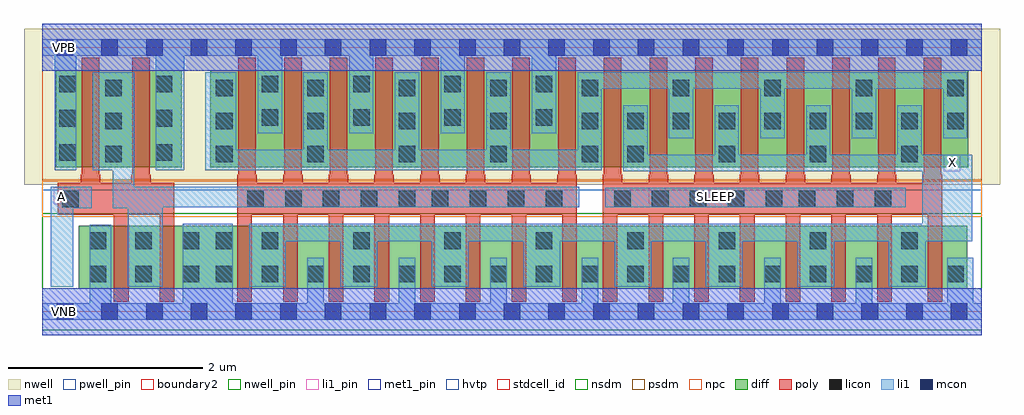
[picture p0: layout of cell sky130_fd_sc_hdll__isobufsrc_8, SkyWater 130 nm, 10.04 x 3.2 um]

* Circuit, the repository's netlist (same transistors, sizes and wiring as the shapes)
* Copyright 2020 The SkyWater PDK Authors
*
* Licensed under the Apache License, Version 2.0 (the "License");
* you may not use this file except in compliance with the License.
* You may obtain a copy of the License at
*
*     https://www.apache.org/licenses/LICENSE-2.0
*
* Unless required by applicable law or agreed to in writing, software
* distributed under the License is distributed on an "AS IS" BASIS,
* WITHOUT WARRANTIES OR CONDITIONS OF ANY KIND, either express or implied.
* See the License for the specific language governing permissions and
* limitations under the License.
*
* SPDX-License-Identifier: Apache-2.0

.SUBCKT sky130_fd_sc_hdll__isobufsrc_8 A SLEEP VGND VNB VPB VPWR X
*.PININFO A:I SLEEP:I VGND:I VNB:I VPB:I VPWR:I X:O
MMP0 VPWR Ab sndPA VPB sky130_fd_pr__pfet_01v8_hvt m=8 w=1.0U l=0.18U mult=1 sa=0.265
+ sb=0.265 sd=0.28 area=0.063 perim=1.14
MMP1 sndPA SLEEP X VPB sky130_fd_pr__pfet_01v8_hvt m=8 w=1.0U l=0.18U mult=1 sa=0.265
+ sb=0.265 sd=0.28 area=0.063 perim=1.14
MMIP1 Ab A VPWR VPB sky130_fd_pr__pfet_01v8_hvt m=2 w=1.0U l=0.18U mult=1 sa=0.265
+ sb=0.265 sd=0.28 area=0.063 perim=1.14
MMN0 X SLEEP VGND VNB sky130_fd_pr__nfet_01v8 m=8 w=0.65U l=0.15U mult=1 sa=0.265
+ sb=0.265 sd=0.28 area=0.063 perim=1.14
MMN1 X Ab VGND VNB sky130_fd_pr__nfet_01v8 m=8 w=0.65U l=0.15U mult=1 sa=0.265
+ sb=0.265 sd=0.28 area=0.063 perim=1.14
MMIN1 Ab A VGND VNB sky130_fd_pr__nfet_01v8 m=2 w=0.65U l=0.15U mult=1 sa=0.265
+ sb=0.265 sd=0.28 area=0.063 perim=1.14
.ENDS sky130_fd_sc_hdll__isobufsrc_8

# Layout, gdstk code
import gdstk
lib = gdstk.Library(unit=1e-6, precision=1e-09)
def R(c, l, rs):  # rectangles x0, y0, x1, y1
    for r in rs: c.add(gdstk.rectangle(r[:2], r[2:], *l))
def A(c, l, x, y, w, h, nx, ny, dx, dy):  # array of equal rectangles
    R(c, l, [(x+i*dx, y+j*dy, x+i*dx+w, y+j*dy+h) for i in range(nx) for j in range(ny)])
def P(c, l, *ps):  # polygons
    for p in ps: c.add(gdstk.Polygon(p, *l))
nwell_pin = (64, 16)
nwell = (64, 20)
diff = (65, 20)
poly = (66, 20)
licon = (66, 44)
li1_pin = (67, 16)
li1 = (67, 20)
mcon = (67, 44)
met1_pin = (68, 16)
met1 = (68, 20)
hvtp = (78, 44)
stdcell_id = (81, 4)
nsdm = (93, 44)
psdm = (94, 20)
npc = (95, 20)
pwell_pin = (122, 16)
boundary2 = (236, 0)

sky130_fd_sc_hdll__isobu = lib.new_cell('sky130_fd_sc_hdll__isobufsrc_8')
R(sky130_fd_sc_hdll__isobu, nwell_pin, [(0.145,2.635,0.315,2.805)])
R(sky130_fd_sc_hdll__isobu, nwell, [(-0.19,1.305,9.85,2.91)])
R(sky130_fd_sc_hdll__isobu, diff, [(0.375,0.235,9.515,0.885), (0.135,1.485,1.435,2.485), (1.725,1.485,9.525,2.485)])
P(sky130_fd_sc_hdll__isobu, poly, [(1.355,1.325),(1.115,1.325),(1.115,1.41),(1.105,1.41),(1.105,2.615),(0.925,2.615),(0.925,1.41),(0.915,1.41),(0.915,1.325),(0.595,1.325),(0.595,1.41),(0.585,1.41),(0.585,2.615),(0.405,2.615),(0.405,1.41),(0.395,1.41),(0.395,1.325),(0.155,1.325),(0.155,0.995),(0.735,0.995),(0.735,0.105),(0.885,0.105),(0.885,0.995),(1.205,0.995),(1.205,0.105),(1.355,0.105)],
  [(5.495,1.41),(5.485,1.41),(5.485,2.615),(5.305,2.615),(5.305,1.41),(5.295,1.41),(5.295,1.325),(5.025,1.325),(5.025,1.41),(5.015,1.41),(5.015,2.615),(4.835,2.615),(4.835,1.41),(4.825,1.41),(4.825,1.325),(4.555,1.325),(4.555,1.41),(4.545,1.41),(4.545,2.615),(4.365,2.615),(4.365,1.41),(4.355,1.41),(4.355,1.325),(4.085,1.325),(4.085,1.41),(4.075,1.41),(4.075,2.615),(3.895,2.615),(3.895,1.41),(3.885,1.41),(3.885,1.325),(3.615,1.325),(3.615,1.41),(3.605,1.41),(3.605,2.615),(3.425,2.615),(3.425,1.41),(3.415,1.41),(3.415,1.325),(3.145,1.325),(3.145,1.41),(3.135,1.41),(3.135,2.615),(2.955,2.615),(2.955,1.41),(2.945,1.41),(2.945,1.325),(2.675,1.325),(2.675,1.41),(2.665,1.41),(2.665,2.615),(2.485,2.615),(2.485,1.41),(2.475,1.41),(2.475,1.325),(2.205,1.325),(2.205,1.41),(2.195,1.41),(2.195,2.615),(2.015,2.615),(2.015,1.41),(2.005,1.41),(2.005,0.105),(2.155,0.105),(2.155,0.995),(2.475,0.995),(2.475,0.105),(2.625,0.105),(2.625,0.995),(2.945,0.995),(2.945,0.105),(3.095,0.105),(3.095,0.995),(3.415,0.995),(3.415,0.105),(3.565,0.105),(3.565,0.995),(3.885,0.995),(3.885,0.105),(4.035,0.105),(4.035,0.995),(4.355,0.995),(4.355,0.105),(4.505,0.105),(4.505,0.995),(4.825,0.995),(4.825,0.105),(4.975,0.105),(4.975,0.995),(5.345,0.995),(5.345,0.105),(5.495,0.105)],
  [(9.255,1.41),(9.245,1.41),(9.245,2.615),(9.065,2.615),(9.065,1.41),(9.055,1.41),(9.055,1.325),(8.785,1.325),(8.785,1.41),(8.775,1.41),(8.775,2.615),(8.595,2.615),(8.595,1.41),(8.585,1.41),(8.585,1.325),(8.315,1.325),(8.315,1.41),(8.305,1.41),(8.305,2.615),(8.125,2.615),(8.125,1.41),(8.115,1.41),(8.115,1.325),(7.845,1.325),(7.845,1.41),(7.835,1.41),(7.835,2.615),(7.655,2.615),(7.655,1.41),(7.645,1.41),(7.645,1.325),(7.375,1.325),(7.375,1.41),(7.365,1.41),(7.365,2.615),(7.185,2.615),(7.185,1.41),(7.175,1.41),(7.175,1.325),(6.905,1.325),(6.905,1.41),(6.895,1.41),(6.895,2.615),(6.715,2.615),(6.715,1.41),(6.705,1.41),(6.705,1.325),(6.435,1.325),(6.435,1.41),(6.425,1.41),(6.425,2.615),(6.245,2.615),(6.245,1.41),(6.235,1.41),(6.235,1.325),(5.965,1.325),(5.965,1.41),(5.955,1.41),(5.955,2.615),(5.775,2.615),(5.775,1.41),(5.765,1.41),(5.765,0.105),(5.915,0.105),(5.915,0.995),(6.235,0.995),(6.235,0.105),(6.385,0.105),(6.385,0.995),(6.705,0.995),(6.705,0.105),(6.855,0.105),(6.855,0.995),(7.175,0.995),(7.175,0.105),(7.325,0.105),(7.325,0.995),(7.645,0.995),(7.645,0.105),(7.795,0.105),(7.795,0.995),(8.115,0.995),(8.115,0.105),(8.265,0.105),(8.265,0.995),(8.585,0.995),(8.585,0.105),(8.735,0.105),(8.735,0.995),(9.105,0.995),(9.105,0.105),(9.255,0.105)])
A(sky130_fd_sc_hdll__isobu, licon, 1.785, 0.305, 0.17, 0.17, 17, 1, 0.47, 0)
A(sky130_fd_sc_hdll__isobu, licon, 2.255, 0.645, 0.17, 0.17, 8, 1, 0.94, 0)
A(sky130_fd_sc_hdll__isobu, licon, 2.105, 1.075, 0.17, 0.17, 5, 1, 0.39, 0)
A(sky130_fd_sc_hdll__isobu, licon, 4.005, 1.075, 0.17, 0.17, 4, 1, 0.39, 0)
A(sky130_fd_sc_hdll__isobu, licon, 5.88, 1.075, 0.17, 0.17, 5, 1, 0.39, 0)
A(sky130_fd_sc_hdll__isobu, licon, 7.78, 1.075, 0.17, 0.17, 3, 1, 0.39, 0)
A(sky130_fd_sc_hdll__isobu, licon, 0.645, 1.535, 0.17, 0.17, 1, 3, 0, 0.34)
A(sky130_fd_sc_hdll__isobu, licon, 1.785, 1.535, 0.17, 0.17, 5, 2, 0.94, 0.34)
A(sky130_fd_sc_hdll__isobu, licon, 6.015, 1.535, 0.17, 0.17, 4, 1, 0.94, 0)
A(sky130_fd_sc_hdll__isobu, licon, 0.175, 1.555, 0.17, 0.17, 1, 3, 0, 0.35)
A(sky130_fd_sc_hdll__isobu, licon, 1.165, 1.555, 0.17, 0.17, 1, 3, 0, 0.35)
A(sky130_fd_sc_hdll__isobu, licon, 6.015, 1.875, 0.17, 0.17, 8, 1, 0.47, 0)
A(sky130_fd_sc_hdll__isobu, licon, 2.255, 1.915, 0.17, 0.17, 4, 2, 0.94, 0.34)
A(sky130_fd_sc_hdll__isobu, licon, 1.785, 2.215, 0.17, 0.17, 9, 1, 0.94, 0)
R(sky130_fd_sc_hdll__isobu, licon, [(0.485,0.305,0.655,0.475), (0.955,0.305,1.125,0.475), (1.445,0.305,1.615,0.475), (0.485,0.645,0.655,0.815), (0.955,0.645,1.125,0.815), (1.445,0.645,1.615,0.815), (1.785,0.645,1.955,0.815), (0.205,1.075,0.375,1.245)])
R(sky130_fd_sc_hdll__isobu, li1_pin, [(0.115,1.105,0.285,1.275), (6.235,1.105,6.405,1.275), (9.27,1.445,9.44,1.615)])
R(sky130_fd_sc_hdll__isobu, li1, [(5.79,1.075,8.88,1.275)])
P(sky130_fd_sc_hdll__isobu, li1, [(9.66,0.085),(9.575,0.085),(9.575,0.555),(9.305,0.555),(9.305,0.085),(8.535,0.085),(8.535,0.555),(8.365,0.555),(8.365,0.085),(7.595,0.085),(7.595,0.555),(7.425,0.555),(7.425,0.085),(6.655,0.085),(6.655,0.555),(6.485,0.555),(6.485,0.085),(5.715,0.085),(5.715,0.555),(5.545,0.555),(5.545,0.085),(4.775,0.085),(4.775,0.555),(4.605,0.555),(4.605,0.085),(3.835,0.085),(3.835,0.555),(3.665,0.555),(3.665,0.085),(2.895,0.085),(2.895,0.555),(2.725,0.555),(2.725,0.085),(1.955,0.085),(1.955,0.905),(1.445,0.905),(1.445,0.085),(0.705,0.085),(0.705,0.895),(0.485,0.895),(0.485,0.085),(0,0.085),(0,-0.085),(9.66,-0.085)],
  [(9.515,2.465),(5.505,2.465),(5.505,1.665),(4.815,1.665),(4.815,2.465),(4.565,2.465),(4.565,1.665),(3.875,1.665),(3.875,2.465),(3.625,2.465),(3.625,1.665),(2.935,1.665),(2.935,2.465),(2.685,2.465),(2.685,1.665),(1.995,1.665),(1.995,2.465),(1.675,2.465),(1.675,1.455),(5.755,1.455),(5.755,2.295),(6.445,2.295),(6.445,1.785),(6.695,1.785),(6.695,2.295),(7.385,2.295),(7.385,1.785),(7.635,1.785),(7.635,2.295),(8.325,2.295),(8.325,1.785),(8.575,1.785),(8.575,2.295),(9.265,2.295),(9.265,1.785),(9.515,1.785)],
  [(0.505,1.285),(0.085,1.285),(0.085,0.255),(0.315,0.255),(0.315,1.065),(0.505,1.065)],
  [(5.52,1.285),(0.945,1.285),(0.945,2.465),(0.515,2.465),(0.515,1.455),(0.725,1.455),(0.725,1.065),(0.875,1.065),(0.875,0.255),(1.235,0.255),(1.235,1.075),(5.52,1.075)],
  [(9.565,1.615),(9.045,1.615),(9.045,2.125),(8.795,2.125),(8.795,1.615),(8.105,1.615),(8.105,2.125),(7.855,2.125),(7.855,1.615),(7.165,1.615),(7.165,2.125),(6.915,2.125),(6.915,1.615),(6.225,1.615),(6.225,2.125),(5.975,2.125),(5.975,1.445),(9.05,1.445),(9.05,0.905),(2.125,0.905),(2.125,0.255),(2.505,0.255),(2.505,0.725),(3.065,0.725),(3.065,0.255),(3.445,0.255),(3.445,0.725),(4.005,0.725),(4.005,0.255),(4.385,0.255),(4.385,0.725),(4.945,0.725),(4.945,0.255),(5.325,0.255),(5.325,0.725),(5.885,0.725),(5.885,0.255),(6.265,0.255),(6.265,0.725),(6.825,0.725),(6.825,0.255),(7.205,0.255),(7.205,0.725),(7.765,0.725),(7.765,0.255),(8.145,0.255),(8.145,0.725),(8.705,0.725),(8.705,0.255),(9.085,0.255),(9.085,0.725),(9.565,0.725)],
  [(9.66,2.805),(0,2.805),(0,2.635),(0.125,2.635),(0.125,1.455),(0.345,1.455),(0.345,2.635),(1.165,2.635),(1.165,1.455),(1.46,1.455),(1.46,2.635),(2.215,2.635),(2.215,1.835),(2.465,1.835),(2.465,2.635),(3.155,2.635),(3.155,1.835),(3.405,1.835),(3.405,2.635),(4.095,2.635),(4.095,1.835),(4.345,1.835),(4.345,2.635),(5.035,2.635),(5.035,1.835),(5.285,1.835),(5.285,2.635),(9.66,2.635)])
A(sky130_fd_sc_hdll__isobu, mcon, 0.145, -0.085, 0.17, 0.17, 21, 2, 0.46, 2.72)
R(sky130_fd_sc_hdll__isobu, met1_pin, [(0.145,-0.085,0.315,0.085), (0.145,2.635,0.315,2.805)])
R(sky130_fd_sc_hdll__isobu, met1, [(0,-0.24,9.66,0.24), (0,2.48,9.66,2.96)])
R(sky130_fd_sc_hdll__isobu, hvtp, [(0,1.25,9.66,2.72)])
R(sky130_fd_sc_hdll__isobu, stdcell_id, [(0,0,9.66,2.72)])
R(sky130_fd_sc_hdll__isobu, nsdm, [(0,-0.19,9.66,1.015)])
R(sky130_fd_sc_hdll__isobu, psdm, [(0,1.355,9.66,2.91)])
R(sky130_fd_sc_hdll__isobu, npc, [(0,0.975,9.66,1.345)])
R(sky130_fd_sc_hdll__isobu, pwell_pin, [(0.145,-0.085,0.315,0.085)])
R(sky130_fd_sc_hdll__isobu, boundary2, [(0,0,9.66,2.72)])
sky130_fd_sc_hdll__isobu.add(gdstk.Label('A', (0.2,1.19), layer=67, texttype=5))
sky130_fd_sc_hdll__isobu.add(gdstk.Label('X', (9.36,1.53), layer=67, texttype=5))
sky130_fd_sc_hdll__isobu.add(gdstk.Label('SLEEP', (6.92,1.19), layer=67, texttype=5))
sky130_fd_sc_hdll__isobu.add(gdstk.Label('VPB', (0.23,2.72), layer=64, texttype=5))
sky130_fd_sc_hdll__isobu.add(gdstk.Label('VNB', (0.23,0), layer=64, texttype=59))
sky130_fd_sc_hdll__isobu.add(gdstk.Label('VGND', (0.23,0), layer=68, texttype=5))
sky130_fd_sc_hdll__isobu.add(gdstk.Label('VPWR', (0.23,2.72), layer=68, texttype=5))
sky130_fd_sc_hdll__isobu.add(gdstk.Label('sky130_fd_sc_hdll__lpflow_isobufsrc_8', (0,0), layer=83, texttype=44))

lib.write_gds('sky130_fd_sc_hdll__isobufsrc_8.gds')
